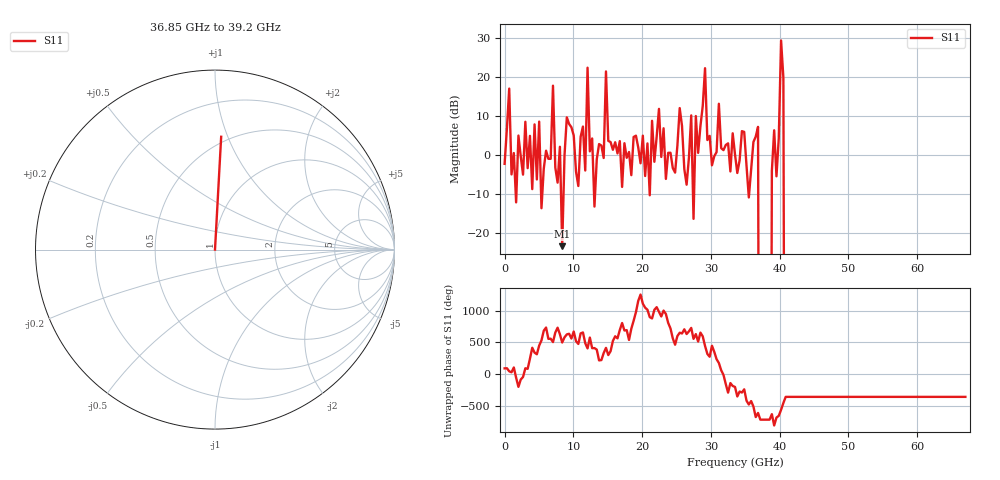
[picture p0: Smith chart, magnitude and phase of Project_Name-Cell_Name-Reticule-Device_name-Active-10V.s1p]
#  HZ  S  RI  R  50.00
! Rohde & Schwarz Vector Network Analyzer
! Rohde-Schwarz,ZNA67-4Port,1332450064101810,2.73
! Created: UTC 3/17/2026, 12:04:26 PM
! freq[Hz]  re:S11  im:S11
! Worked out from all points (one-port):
!   201 points, 10 MHz to 67 GHz, reference 50 ohm
!   lowest |S11| = -23.3 dB at 8.384 GHz (marker M1), VSWR 1.15, Z = 44.9 + j4.09 ohm
!   |S11| at or under -10 dB: 1.631 GHz to 1.725 GHz (94.11 MHz wide, 5.61 % of centre); 36.88 GHz to 38.85 GHz (1.972 GHz wide, 5.21 % of centre); 40.58 GHz to end of sweep (the widest 3 of 9)
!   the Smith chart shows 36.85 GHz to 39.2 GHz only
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1e7  -0.00292 0.7779
6.799e8  5.137 4.966
2.0197e9  -1.66 0.67
6.0391e9  1.106 0.3021
7.04395e9  -6.39 4.443
7.3789e9  0.3017 -0.6315
8.38375e9  -0.0517 0.0453
1.13983e10  1.098 -2.06
1.173325e10  -0.3955 0.5025
1.20682e10  9.263 9.449
1.240315e10  -0.8988 -0.6764
1.441285e10  0.8181 -0.4306
1.47478e10  6.921 9.612
1.508275e10  0.7857 -1.315
1.67575e10  1.394 -0.607
2.513125e10  -0.6435 -1.171
2.88157e10  -2.413 -3.546
2.915065e10  1.191 12.98
2.94856e10  1.177 -1.037
3.3505e10  -0.9475 0.4021
3.986905e10  0.8198 1.445
4.0204e10  -26.92 12.13
4.053895e10  -1.098 -9.749
4.08739e10  0 0
4.187875e10  0 0
5.02525e10  0 0
5.862625e10  0 0
6.7e10  0 0
